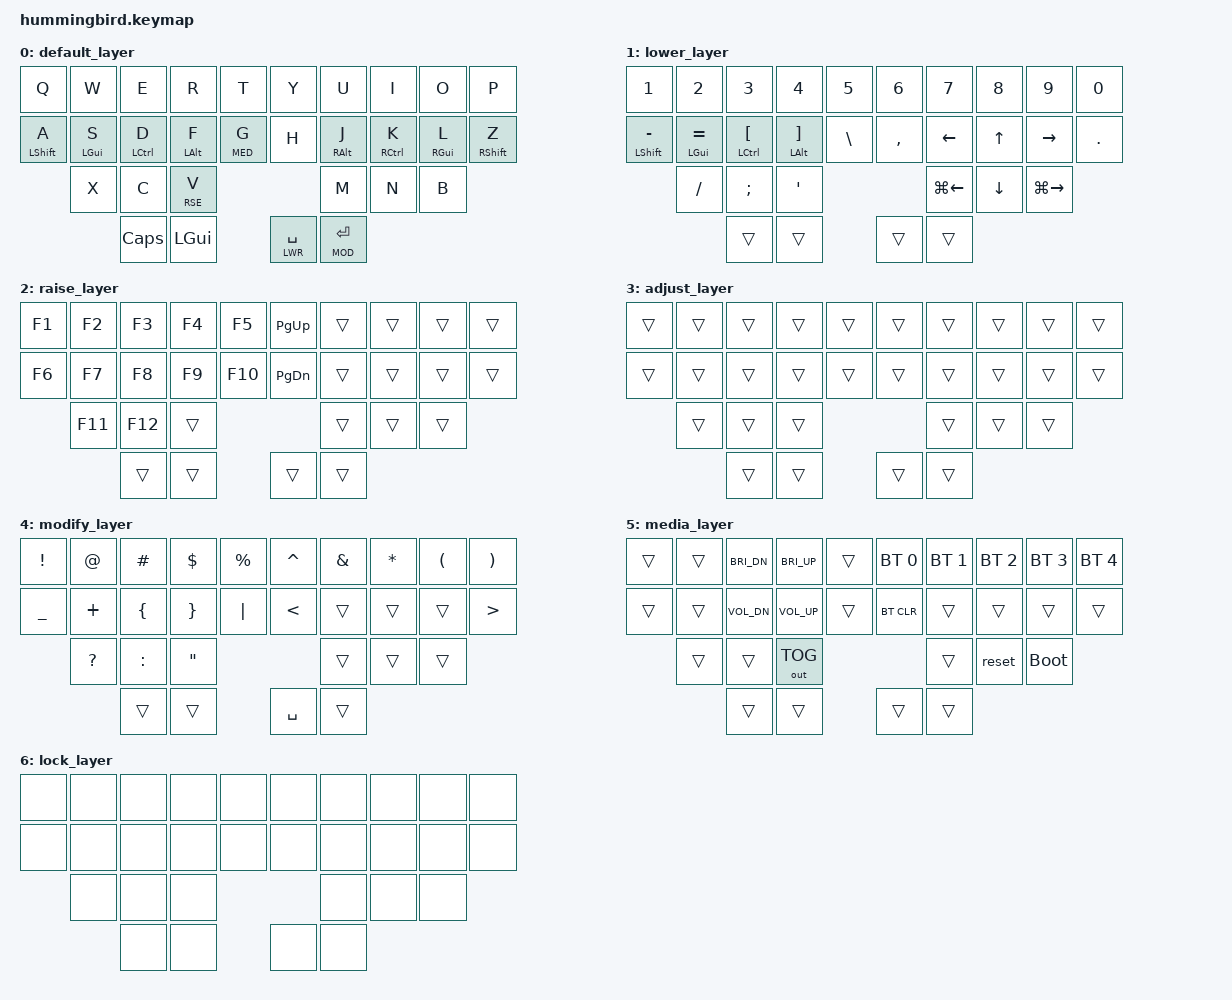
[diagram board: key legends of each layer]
/*
 * Copyright (c) 2022 The ZMK Contributors
 *
 * SPDX-License-Identifier: MIT
 */

#include <behaviors.dtsi>
#include <dt-bindings/zmk/keys.h>
#include <dt-bindings/zmk/bt.h>
#include <dt-bindings/zmk/outputs.h>

#define DEF 0
#define LWR 1
#define RSE 2
#define ADJ 3
#define MOD 4
#define MED 5
#define LOK 6

&lt {
    tapping-term-ms = <200>;
    quick_tap_ms=<150>; 
    flavor = "tap-preferred"; 
    };
    
// for mt settings,default is ok,default is 'hold-preferred'

/ {

    behaviors {
            hm: homerow_mods {
                compatible = "zmk,behavior-hold-tap";
                label = "HOMEROW_MODS";
                #binding-cells = <2>;
                tapping-term-ms = <300>;
                quick-tap-ms = <250>;
                flavor = "tap-preferred";
                bindings = <&kp>, <&kp>;
        };
    };
    
    combos {
        compatible = "zmk,combos";
        
        /*                KEY POSITIONS
    
             0   1   2   3   4      5   6   7   8   9
            10  11  12  13  14     15  16  17  18  19
                20  21  22             23  24  25
                        26  27     28  29              */
                        
        combo_esc {
            timeout-ms = <35>;
            key-positions = <1 2>;
            bindings = <&kp ESC>;
            layers = <0 1 2 3 4 5>;
        };
        combo_lock {
            timeout-ms = <100>;
            key-positions = <0 1 2 3>;
            bindings = <&tog LOK>;
            layers = <0 1 2 3 4 5 6>;
        };
        combo_tab {
            timeout-ms = <35>;
            key-positions = <2 3>;
            bindings = <&kp TAB>;
            layers = <0 1 2 3 4 5>;
        };
        combo_bspc2 {
            timeout-ms = <50>;
            key-positions = <7 8>;
            bindings = <&kp BSPC>;
            layers = <0 1 2 3 4 5>;
        };
        combo_enter {
            timeout-ms = <50>;
            key-positions = <21 22>;
            bindings = <&kp ENTER>;
            layers = <0 1 2 3 4 5>;
        };
        combo_bspc {
            timeout-ms = <50>;
            key-positions = <3 4>;
            bindings = <&kp BSPC>;
            layers = <0 1 2 3 4 5>;
        };
        combo_bspc3 {
            timeout-ms = <40>;
            key-positions = <16 17>;
            bindings = <&kp BSPC>;
            layers = <0 1 2 3 4 5>;
        };
        combo_tilde {
            timeout-ms = <40>;
            key-positions = <0 1 2>;
            bindings = <&kp TILDE>;
            layers = <0 1 2 3 4 5>;
        };
        combo_grave {
            timeout-ms = <40>;
            key-positions = <0 1>;
            bindings = <&kp GRAVE>;
            layers = <0 1 2 3 4 5>;
        };
         combo_space {
            timeout-ms = <40>;
            key-positions = <23 24>;
            bindings = <&kp SPACE>;
            layers = <0 1 2 3 4 5>;
        };
        combo_LCF {
            timeout-ms = <60>;
            key-positions = <11 12 13>;
            bindings = <&kp LC(F)>;
            layers = <0 1 2 3 4 5>;
        };
        combo_LCJ {
            timeout-ms = <60>;
            key-positions = <20 21 22>;
            bindings = <&kp LC(J)>;
            layers = <0 1 2 3 4 5>;
        };
        combo_LGSM {
            timeout-ms = <60>;
            key-positions = <1 2 3>;
            bindings = <&kp LG(LS(M))>;
            layers = <0 1 2 3 4 5>;
        };
    };
    
        keymap {
                compatible = "zmk,keymap";

                default_layer {
                        bindings = <
  &kp Q        &kp W       &kp E         &kp R        &kp T               &kp Y     &kp U       &kp I        &kp O         &kp P
  &hm LSHIFT A &hm LGUI S  &hm LCTRL D   &hm LALT F   &lt MED G           &kp H     &hm RALT J  &hm RCTRL K  &hm RGUI L    &hm RSHIFT Z
                &kp X       &kp C         &lt RSE V                                      &kp M       &kp N        &kp B
                                 &kp CAPS   &kp LGUI                    &lt LWR SPACE    &lt MOD ENTER     
                        >;
                };
                lower_layer {
                        bindings = <
  &kp N1     &kp N2     &kp N3     &kp N4    &kp N5                                   &kp N6    &kp N7    &kp N8    &kp N9    &kp N0 
  &hm LSHIFT MINUS  &hm LGUI EQUAL  &hm LCTRL LBKT   &hm LALT RBKT  &kp BACKSLASH     &kp COMMA &kp LEFT  &kp UP    &kp RIGHT &kp DOT 
            &kp FSLH   &kp SEMI  &kp SQT                                                      &kp LG(LEFT)   &kp DOWN      &kp LG(RIGHT)  
                          	            &trans    &trans            &trans   &trans 
                        >;
                };

                raise_layer {
                        bindings = <
  &kp F1       &kp F2       &kp F3         &kp F4       &kp F5               &kp PG_UP   &trans       &trans       &trans     &trans
  &kp F6       &kp F7       &kp F8           &kp F9       &kp F10            &kp PG_DN    &trans  &trans  &trans    &trans   
                 &kp F11       &kp F12          &trans                                 &trans  &trans  &trans 
                    	                 &trans            &trans                  &trans       &trans 
                        >;
                };
                adjust_layer {
                        bindings = <
               &trans   &trans  &trans   &trans  &trans         &trans   &trans  &trans   &trans  &trans
               &trans   &trans  &trans   &trans  &trans         &trans   &trans  &trans   &trans  &trans
                        &trans   &trans  &trans                 &trans   &trans  &trans  
                    &trans   &trans                         &trans   &trans
                        >;
                };
                modify_layer {
                        bindings = <
&kp EXCL  &kp AT   &kp HASH  &kp DLLR &kp PRCNT                    &kp CARET  &kp AMPS  &kp STAR  &kp LPAR  &kp RPAR   
&kp UNDER &kp PLUS &kp LBRC  &kp RBRC &kp PIPE                     &kp LT   &trans    &trans  &trans    &kp GT 
            &kp QMARK  &kp COLON   &kp DQT                                      &trans    &trans  &trans
                              &trans    &trans                       &kp SPACE     &trans
                        >;
                };
                media_layer {
                        bindings = <
&trans       &trans      &kp C_BRI_DN          &kp C_BRI_UP       &trans                &bt BT_SEL 0   &bt BT_SEL 1 &bt BT_SEL 2   &bt BT_SEL 3    &bt BT_SEL 4
&trans       &trans      &kp C_VOL_DN          &kp C_VOL_UP       &trans                &bt BT_CLR     &trans       &trans         &trans          &trans
             &trans       &trans      &out OUT_TOG                                                           &trans   &reset    &bootloader  
                     	                  &trans             &trans                &trans   &trans   
                      >;
                };
                lock_layer {
                        bindings = <
  &none    &none  &none  &none  &none                   &none   &none  &none  &none  &none 
  &none    &none  &none  &none  &none                   &none   &none  &none  &none  &none
           &none  &none  &none                                  &none  &none  &none
                              &none  &none           &none  &none           
                        >;
                };
        };
};


